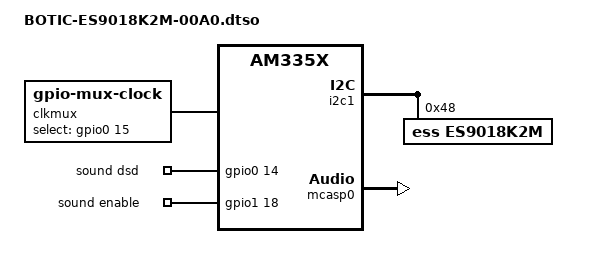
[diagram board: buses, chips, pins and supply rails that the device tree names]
/dts-v1/;
/plugin/;

#include <dt-bindings/gpio/gpio.h>
#include <dt-bindings/pinctrl/am33xx.h>

/ {
	compatible = "ti,am335x-bone-black-wireless", "ti,am335x-bone-black";

	fragment@0 {
		target = <&am33xx_pinmux>;
		__overlay__ {
			/* Overwrite the default pinctrl from kernel device tree file for XDMA_EVENT_INTR1 */
			pinctrl-0 = <&clkout2_pin_custom>;

			botic_cape_pins: botic_cape_pins {
				pinctrl-single,pins = <
					/* external masterclock enable */
					AM33XX_PADCONF(AM335X_PIN_GPMC_A2, PIN_OUTPUT_PULLDOWN, MUX_MODE7)    /* gpmc_a2.gpio1_18 */
					/* external masterclock switch */
					AM33XX_PADCONF(AM335X_PIN_UART1_TXD, PIN_OUTPUT_PULLDOWN, MUX_MODE7)    /* uart1_txd.gpio0_15 */
					/* DSD format switch */
					AM33XX_PADCONF(AM335X_PIN_UART1_RXD, PIN_OUTPUT_PULLDOWN, MUX_MODE7)    /* uart1_rxd.gpio0_14 */
				>;
			};

			/* Needs to be set to input to make available MCASP0_AXR1 on P9.41 */
			clkout2_pin_custom: clkout2_pin_custom {
				pinctrl-single,pins = <
					AM33XX_PADCONF(AM335X_PIN_XDMA_EVENT_INTR1, PIN_INPUT, MUX_MODE7)
				>;
			};

			mcasp0_pins: mcasp0_pins {
				pinctrl-single,pins = <
					/* onboard 24.576MHz oscillator control */
					AM33XX_PADCONF(AM335X_PIN_GPMC_A11, PIN_OUTPUT_PULLDOWN, MUX_MODE7)	/* gpmc_a11.GPIO1_27 */
					/* bitclock */
					AM33XX_PADCONF(AM335X_PIN_MCASP0_ACLKX, PIN_OUTPUT_PULLDOWN, MUX_MODE0)	/* mcasp0_aclkx.mcasp0_aclkx */
					/* wordclock */
					AM33XX_PADCONF(AM335X_PIN_MCASP0_FSX, PIN_OUTPUT_PULLUP, MUX_MODE0)	/* mcasp0_fsx.mcasp0_fsx */
					/* data pins */
					AM33XX_PADCONF(AM335X_PIN_MCASP0_AXR0, PIN_OUTPUT_PULLDOWN, MUX_MODE0)	/* mcasp0_axr0.mcasp0_axr0 */
					AM33XX_PADCONF(AM335X_PIN_MCASP0_AXR1, PIN_OUTPUT_PULLDOWN, MUX_MODE0)    /* mcasp0_axr1 */
					/* disable eCAP0_in_PWM0_out to allow usage of mcasp0_axr2 on P9_42 */
					AM33XX_PADCONF(AM335X_PIN_ECAP0_IN_PWM0_OUT, PIN_INPUT, MUX_MODE7)              /* ecap0_in_pwm0_out.gpio0_7 */
					AM33XX_PADCONF(AM335X_PIN_MCASP0_ACLKR, PIN_OUTPUT_PULLDOWN, MUX_MODE2)	/* mcasp0_aclkr.mcasp0_axr2 */
					AM33XX_PADCONF(AM335X_PIN_MCASP0_FSR, PIN_OUTPUT_PULLDOWN, MUX_MODE2)    /* mcasp0_fsr.mcasp0_axr3 */
					/* master clock */
					AM33XX_PADCONF(AM335X_PIN_MCASP0_AHCLKX, PIN_INPUT_PULLUP, MUX_MODE0)	/* MCASP0_AHCLKX -> MCASP0_AHCLKX (I2S_MCLK_OUT)- in */	
				>;
			};

			i2c1_pins: pinmux_bb_i2c1_pins {
				pinctrl-single,pins = <
					AM33XX_PADCONF(AM335X_PIN_SPI0_D1, PIN_INPUT_PULLUP | SLEWCTRL_SLOW, MUX_MODE2)
					AM33XX_PADCONF(AM335X_PIN_SPI0_CS0, PIN_INPUT_PULLUP | SLEWCTRL_SLOW, MUX_MODE2)
				>;
			};
		};
	};

	fragment@1 {
		target-path="/";

		__overlay__ {
			
			clk48: clk48 {
				#clock-cells = <0>;
				compatible = "fixed-clock";
				clock-frequency = <49152000>;
			};

			clk44: clk44 {
				#clock-cells = <0>;
				compatible = "fixed-clock";
				clock-frequency = <45158400>;
			};

			clkmux: clkmux {
				#clock-cells = <0>;
				compatible = "gpio-mux-clock";
				clocks = <&clk44>, <&clk48>;
				select-gpios = <&gpio0 15 0>;
			};

			sound {
				compatible = "botic-audio-card";
				status = "okay";

				pinctrl-names = "default";
				pinctrl-0 = <&botic_cape_pins>;

				clocks = <&clkmux>, <&clk48>, <&clk44>;
				clock-names = "mux", "clk48", "clk44";

				audio-port = <&mcasp0>;
				audio-codec = <&es9018k2m>;
				audio-codec-dai = "es9018k2m-hifi";

				dsd-gpios = <&gpio0 14 0>;
				enable-gpios = <&gpio1 18 0>;
			};

		};

	};
	
	/* (Hermes-BBB) The I2C1 for isolated I2C access. */
	fragment@2 {
		target = <&i2c1>;
		__overlay__ {
			#address-cells = <1>;
			#size-cells = <0>;
			status = "okay";
			pinctrl-names = "default";
			pinctrl-0 = <&i2c1_pins>;
			/* ESS 9018K2M DAC is on I2C address 0x48 */
			es9018k2m: es9018k2m@48 {
				compatible = "ess,es9018k2m";
				reg = <0x48>;
				status = "okay";
			};
		};


	};
	
	/* Enable and configure McASP as needed. */
	fragment@3 {
		target = <&mcasp0>;
		__overlay__ {
			pinctrl-names = "default";
			status = "okay";
			pinctrl-0 = <&mcasp0_pins>;
			serial-dir = <  /* 0: INACTIVE, 1: TX, 2: RX */
				1 1 1 1
			>;
			tx-num-evt = <32>;
			rx-num-evt = <32>;
		};
	};
};
